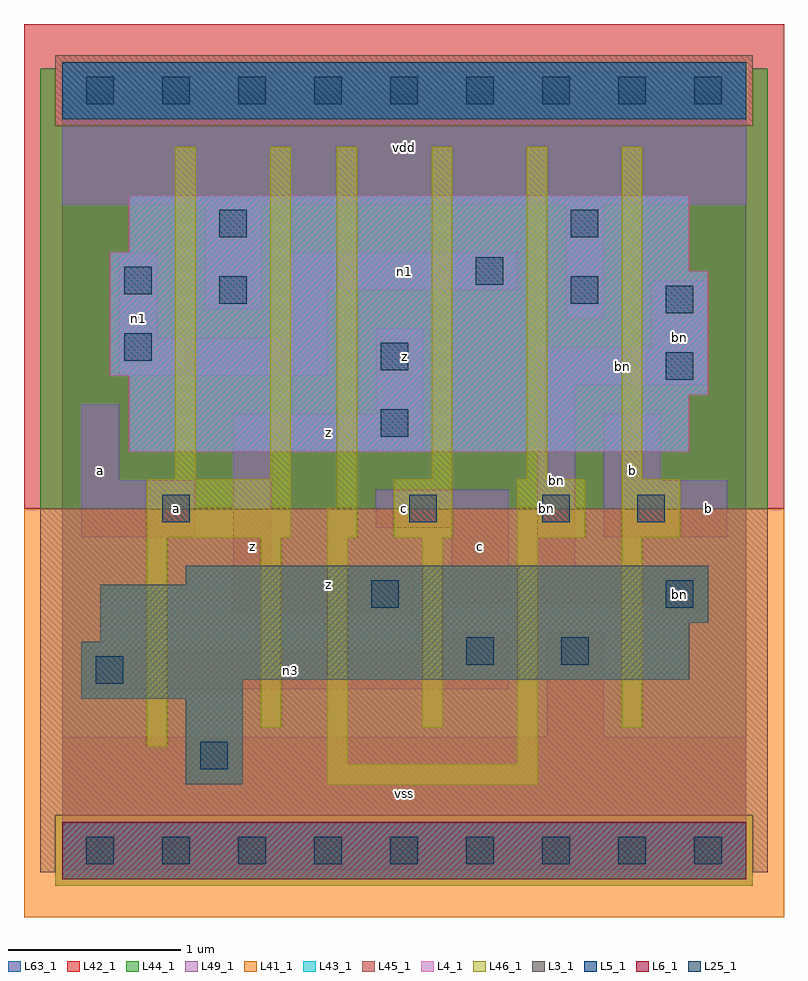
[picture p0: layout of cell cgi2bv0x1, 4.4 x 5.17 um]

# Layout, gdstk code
import gdstk
lib = gdstk.Library(unit=1e-6, precision=1e-09)
def R(c, l, rs):  # rectangles x0, y0, x1, y1
    for r in rs: c.add(gdstk.rectangle(r[:2], r[2:], *l))
def A(c, l, x, y, w, h, nx, ny, dx, dy):  # array of equal rectangles
    R(c, l, [(x+i*dx, y+j*dy, x+i*dx+w, y+j*dy+h) for i in range(nx) for j in range(ny)])
L3_1 = (3, 1)
L4_1 = (4, 1)
L5_1 = (5, 1)
L6_1 = (6, 1)
L25_1 = (25, 1)
L41_1 = (41, 1)
L42_1 = (42, 1)
L43_1 = (43, 1)
L44_1 = (44, 1)
L45_1 = (45, 1)
L46_1 = (46, 1)
L49_1 = (49, 1)
L63_1 = (63, 1)

cgi2bv0x1 = lib.new_cell('cgi2bv0x1')
R(cgi2bv0x1, L3_1, [(0.715,0.385,1.045,0.88), (0.11,0.88,1.045,0.99), (0.11,0.99,3.63,1.21), (0.22,1.21,3.63,1.32), (0.22,1.32,3.74,1.54), (0.715,1.54,3.74,1.65)])
R(cgi2bv0x1, L4_1, [(0.385,2.31,3.63,2.64), (0.385,2.64,3.74,2.75), (0.275,2.75,3.74,3.355), (0.275,3.355,3.63,3.465), (0.385,3.465,3.63,3.795)])
R(cgi2bv0x1, L5_1, [(0,4.235,3.96,4.565)])
R(cgi2bv0x1, L6_1, [(0,-0.165,3.96,0.165)])
A(cgi2bv0x1, L25_1, 0.14, -0.08, 0.16, 0.16, 9, 2, 0.44, 4.4)
R(cgi2bv0x1, L25_1, [(0.8,0.47,0.96,0.63), (0.195,0.965,0.355,1.125), (2.34,1.075,2.5,1.235), (2.89,1.075,3.05,1.235), (1.79,1.405,1.95,1.565), (3.495,1.405,3.655,1.565), (0.58,1.9,0.74,2.06), (2.01,1.9,2.17,2.06), (2.78,1.9,2.94,2.06), (3.33,1.9,3.49,2.06), (1.845,2.395,2.005,2.555), (3.495,2.725,3.655,2.885), (1.845,2.78,2.005,2.94), (0.36,2.835,0.52,2.995), (3.495,3.11,3.655,3.27), (0.91,3.165,1.07,3.325), (2.945,3.165,3.105,3.325), (0.36,3.22,0.52,3.38), (2.395,3.275,2.555,3.435), (0.91,3.55,1.07,3.71), (2.945,3.55,3.105,3.71)])
R(cgi2bv0x1, L41_1, [(-0.22,-0.385,4.18,1.98)])
R(cgi2bv0x1, L42_1, [(-0.22,1.98,4.18,4.785)])
R(cgi2bv0x1, L43_1, [(0,-0.165,3.96,0.165), (0.715,0.385,1.045,0.88), (0.11,0.88,1.045,0.99), (0.11,0.99,3.63,1.21), (0.22,1.21,3.63,1.32), (0.22,1.32,3.74,1.54), (0.715,1.54,3.74,1.65), (0.385,2.31,3.63,2.64), (0.385,2.64,3.74,2.75), (0.275,2.75,3.74,3.355), (0.275,3.355,3.63,3.465), (0.385,3.465,3.63,3.795), (0,4.235,3.96,4.565)])
R(cgi2bv0x1, L44_1, [(-0.04,-0.205,4,0.205), (-0.125,1.98,4.085,4.195), (-0.125,4.195,-0.04,4.525), (4,4.195,4.085,4.525)])
R(cgi2bv0x1, L45_1, [(-0.125,-0.125,-0.04,0.205), (4,-0.125,4.085,0.205), (-0.125,0.205,4.085,1.98), (-0.04,4.195,4,4.605)])
A(cgi2bv0x1, L46_1, 2.14, 2.15, 0.12, 1.925, 3, 1, 0.55, 0)
R(cgi2bv0x1, L46_1, [(1.535,0.38,2.755,0.5), (1.535,0.5,1.655,1.81), (2.635,0.5,2.755,1.81), (0.49,0.6,0.61,1.81), (1.15,0.71,1.27,1.81), (2.085,0.71,2.205,1.81), (3.24,0.71,3.36,1.81), (0.49,1.81,1.325,2.15), (1.535,1.81,1.71,1.985), (1.92,1.81,2.26,2.15), (2.635,1.81,3.03,2.15), (3.24,1.81,3.58,2.15), (1.59,1.985,1.71,4.075), (0.655,2.15,0.775,4.075), (1.205,2.15,1.325,4.075)])
R(cgi2bv0x1, L49_1, [(0,-0.11,3.96,0.66), (2.805,0.66,3.135,1.265), (0.11,0.935,2.585,1.155), (2.255,1.155,2.585,1.265), (0.99,1.375,2.035,1.65), (3.41,1.375,3.74,1.43), (2.255,1.43,2.585,1.87), (2.75,1.43,3.74,1.65), (0.99,1.65,1.21,2.31), (2.75,1.65,2.97,2.695), (0.11,1.815,0.77,2.145), (3.135,1.815,3.85,2.145), (1.815,1.87,2.585,2.09), (0.11,2.145,0.33,2.585), (3.135,2.145,3.465,2.53), (0.99,2.31,2.09,2.53), (1.815,2.53,2.09,3.025), (2.75,2.695,3.74,2.915), (0.33,2.75,1.54,2.97), (3.41,2.915,3.74,3.3), (0.33,2.97,0.55,3.465), (1.32,2.97,1.54,3.245), (2.915,3.08,3.135,3.74), (0.825,3.135,1.155,3.74), (1.32,3.245,2.64,3.465), (0,3.74,3.96,4.51)])
R(cgi2bv0x1, L63_1, [(0,0,3.96,4.4)])
cgi2bv0x1.add(gdstk.Label('bn', (2.805,1.98), layer=49, texttype=1))
cgi2bv0x1.add(gdstk.Label('a', (0.22,2.2), layer=49, texttype=1))
cgi2bv0x1.add(gdstk.Label('n1', (0.44,3.08), layer=49, texttype=1))
cgi2bv0x1.add(gdstk.Label('z', (1.1,1.76), layer=49, texttype=1))
cgi2bv0x1.add(gdstk.Label('a', (0.66,1.98), layer=49, texttype=1))
cgi2bv0x1.add(gdstk.Label('vss', (1.98,0.33), layer=49, texttype=1))
cgi2bv0x1.add(gdstk.Label('z', (1.54,1.54), layer=49, texttype=1))
cgi2bv0x1.add(gdstk.Label('z', (1.54,2.42), layer=49, texttype=1))
cgi2bv0x1.add(gdstk.Label('c', (1.98,1.98), layer=49, texttype=1))
cgi2bv0x1.add(gdstk.Label('z', (1.98,2.86), layer=49, texttype=1))
cgi2bv0x1.add(gdstk.Label('vdd', (1.98,4.07), layer=49, texttype=1))
cgi2bv0x1.add(gdstk.Label('n3', (1.32,1.045), layer=49, texttype=1))
cgi2bv0x1.add(gdstk.Label('c', (2.42,1.76), layer=49, texttype=1))
cgi2bv0x1.add(gdstk.Label('bn', (2.86,2.145), layer=49, texttype=1))
cgi2bv0x1.add(gdstk.Label('n1', (1.98,3.355), layer=49, texttype=1))
cgi2bv0x1.add(gdstk.Label('bn', (3.575,1.485), layer=49, texttype=1))
cgi2bv0x1.add(gdstk.Label('b', (3.3,2.2), layer=49, texttype=1))
cgi2bv0x1.add(gdstk.Label('b', (3.74,1.98), layer=49, texttype=1))
cgi2bv0x1.add(gdstk.Label('bn', (3.575,2.97), layer=49, texttype=1))
cgi2bv0x1.add(gdstk.Label('bn', (3.245,2.805), layer=49, texttype=1))

lib.write_gds('cgi2bv0x1.gds')
